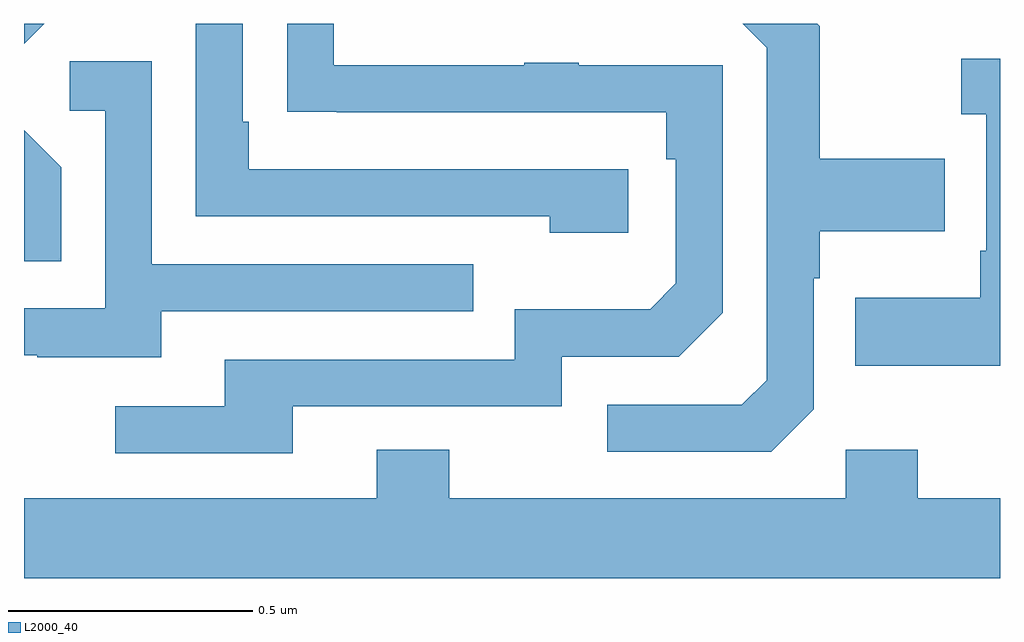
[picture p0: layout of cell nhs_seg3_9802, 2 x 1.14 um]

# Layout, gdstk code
import gdstk
lib = gdstk.Library(unit=1e-6, precision=1e-09)
def P(c, l, *ps):  # polygons
    for p in ps: c.add(gdstk.Polygon(p, *l))
L2000_40 = (2000, 40)

nhs_seg3_9802 = lib.new_cell('nhs_seg3_9802')
P(nhs_seg3_9802, L2000_40, [(233.551,686.616),(234.102,686.616),(234.102,686.718),(234.342,686.718),(234.432,686.808),(234.432,687.315),(234.137,687.315),(234.137,687.32),(234.025,687.32),(234.025,687.315),(233.635,687.315),(233.635,687.4),(233.539,687.4),(233.539,687.22),(233.641,687.22),(233.641,687.219),(234.316,687.219),(234.316,687.122),(234.336,687.122),(234.336,686.868),(234.283,686.815),(234.006,686.815),(234.006,686.712),(233.411,686.712),(233.411,686.616),(233.187,686.616),(233.187,686.52),(233.551,686.52)],
  [(234.618,686.61),(234.618,686.879),(234.631,686.879),(234.631,686.975),(234.887,686.975),(234.887,687.123),(234.631,687.123),(234.631,687.395),(234.626,687.4),(234.473,687.4),(234.522,687.351),(234.522,686.67),(234.471,686.619),(234.195,686.619),(234.195,686.523),(234.531,686.523)],
  [(233.041,687.4),(233,687.4),(233,687.359)],
  [(234.238,687.102),(233.461,687.102),(233.461,687.199),(233.448,687.199),(233.448,687.4),(233.352,687.4),(233.352,687.006),(234.077,687.006),(234.077,686.972),(234.238,686.972)],
  [(235,687.328),(234.921,687.328),(234.921,687.215),(234.972,687.215),(234.972,686.935),(234.96,686.935),(234.96,686.839),(234.703,686.839),(234.703,686.699),(235,686.699)],
  [(233.281,686.811),(233.921,686.811),(233.921,686.907),(233.262,686.907),(233.262,687.323),(233.094,687.323),(233.094,687.222),(233.166,687.222),(233.166,686.817),(233,686.817),(233,686.721),(233.027,686.721),(233.027,686.717),(233.281,686.717)],
  [(233.076,687.106),(233,687.182),(233,686.913),(233.076,686.913)],
  [(235,686.428),(234.831,686.428),(234.831,686.527),(234.684,686.527),(234.684,686.428),(233.871,686.428),(233.871,686.527),(233.723,686.527),(233.723,686.428),(233,686.428),(233,686.264),(235,686.264)])

lib.write_gds('nhs_seg3_9802.gds')
